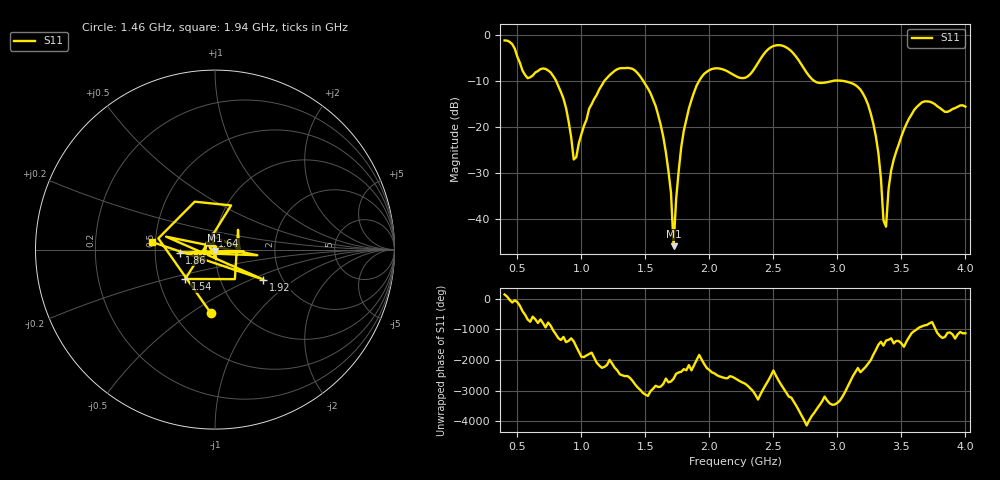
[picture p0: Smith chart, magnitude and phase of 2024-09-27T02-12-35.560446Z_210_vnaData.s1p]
!Created with skrf (http://scikit-rf.org).
# Hz S RI R 50.0
!freq ReS11 ImS11
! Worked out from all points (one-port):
!   181 points, 400 MHz to 4 GHz, reference 50 ohm
!   lowest |S11| = -45.8 dB at 1.72 GHz (marker M1), VSWR 1.01, Z = 50 - j0.511 ohm
!   |S11| at or under -10 dB: 802.7 MHz to 1.179 GHz (376.2 MHz wide, 38 % of centre); 1.483 GHz to 1.919 GHz (436 MHz wide, 25.6 % of centre); 3.047 GHz to end of sweep (the widest 3 of 4)
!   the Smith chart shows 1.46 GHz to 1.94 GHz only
!   S11 on the Smith chart (normalised r, x): 1.46 GHz: 0.75, -0.60; 1.54 GHz: 0.68, -0.24; 1.64 GHz: 0.96, +0.15; 1.86 GHz: 0.67, -0.02; 1.92 GHz: 1.60, -0.60; 1.94 GHz: 0.48, +0.05
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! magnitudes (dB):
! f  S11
! 400 MHz  -1.2
! 580 MHz  -9.4
! 720 MHz  -7.4
! 860 MHz  -13.8
! 940 MHz  -27.0
! 1.06 GHz  -16.0
! 1.3 GHz  -7.2
! 1.46 GHz  -9.0
! 1.54 GHz  -12.7
! 1.64 GHz  -22.2
! 1.7 GHz  -34.3
! 1.72 GHz  -45.8
! 1.76 GHz  -29.5
! 1.86 GHz  -14.1
! 1.92 GHz  -10.0
! 1.94 GHz  -9.1
! 2.2 GHz  -8.8
! 2.5 GHz  -2.4
! 2.66 GHz  -4.1
! 2.84 GHz  -10.3
! 3.1 GHz  -10.4
! 3.28 GHz  -19.2
! 3.32 GHz  -25.6
! 3.36 GHz  -40.2
! 3.38 GHz  -41.6
! 3.42 GHz  -29.4
! 3.56 GHz  -18.1
! 4 GHz  -15.6
